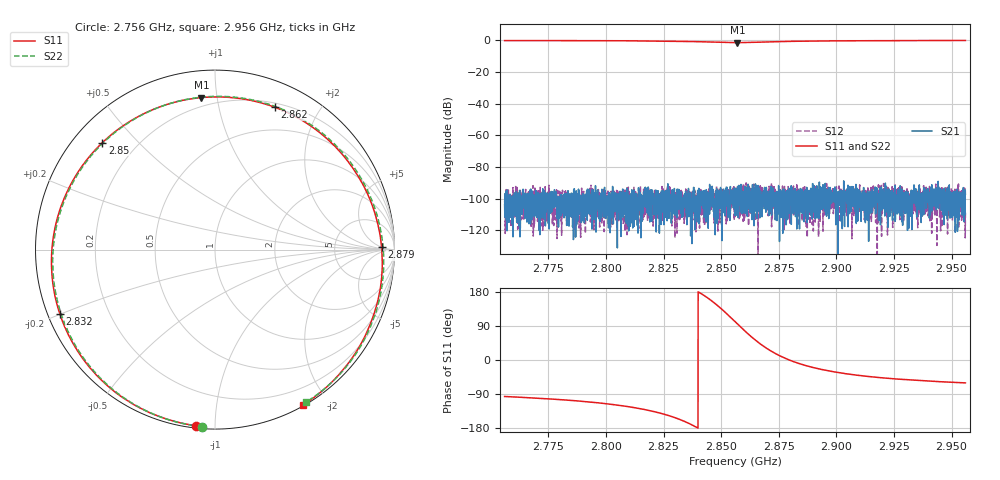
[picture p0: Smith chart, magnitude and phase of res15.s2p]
!Agilent Technologies,N5242A,MY47420273,A.09.90.17
!Agilent N5242A: A.09.90.17
!Date: Wednesday, November 29, 2023 13:27:30
!Correction: S11(Full 2 Port(1,4))
!S41(Full 2 Port(1,4))
!S14(Full 2 Port(1,4))
!S44(Full 2 Port(1,4))
!S2P File: Measurements: S11, S41, S14, S44:
# Hz S  RI  R 50
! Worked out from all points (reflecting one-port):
!   3201 points, 2.756 GHz to 2.956 GHz, reference 50 ohm
!   lowest |S11| = -1.4 dB at 2.857 GHz (marker M1), VSWR 12.36, Z = 7.39 + j45.2 ohm
!   phase of S11 starts at -96 deg and turns -324 deg over the sweep
!   S11 on the Smith chart (normalised r, x): 2.756 GHz: 0.01, -0.90; 2.832 GHz: 0.03, -0.20; 2.85 GHz: 0.08, +0.40; 2.862 GHz: 0.24, +1.48; 2.879 GHz: 26, +5; 2.956 GHz: 0.01, -1.72
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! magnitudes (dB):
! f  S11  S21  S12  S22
! 2.756 GHz  -0.1  -103.8  -101.4  -0.1
! 2.789 GHz  -0.2  -106.3  -107.4  -0.2
! 2.811 GHz  -0.3  -98.3  -102.5  -0.3
! 2.817 GHz  -0.3  -102.7  -100.7  -0.3
! 2.823 GHz  -0.4  -95.1  -99.0  -0.4
! 2.828 GHz  -0.5  -106.3  -92.5  -0.5
! 2.832 GHz  -0.6  -105.2  -103.5  -0.6
! 2.84 GHz  -0.8  -114.7  -96.5  -0.9
! 2.85 GHz  -1.3  -99.7  -95.7  -1.3
! 2.853 GHz  -1.4  -97.4  -98.8  -1.4
! 2.856 GHz  -1.4  -105.9  -107.5  -1.4
! 2.857 GHz  -1.4  -99.2  -94.4  -1.4
! 2.86 GHz  -1.4  -104.6  -91.0  -1.3
! 2.862 GHz  -1.3  -105.9  -99.8  -1.3
! 2.873 GHz  -0.9  -98.7  -96.7  -0.8
! 2.879 GHz  -0.7  -99.7  -95.0  -0.6
! 2.884 GHz  -0.5  -98.3  -103.1  -0.5
! 2.889 GHz  -0.4  -103.2  -100.8  -0.4
! 2.896 GHz  -0.3  -101.6  -104.5  -0.3
! 2.903 GHz  -0.3  -99.2  -110.3  -0.2
! 2.923 GHz  -0.1  -100.9  -93.8  -0.1
! 2.956 GHz  0.0  -97.2  -108.8  -0.1
